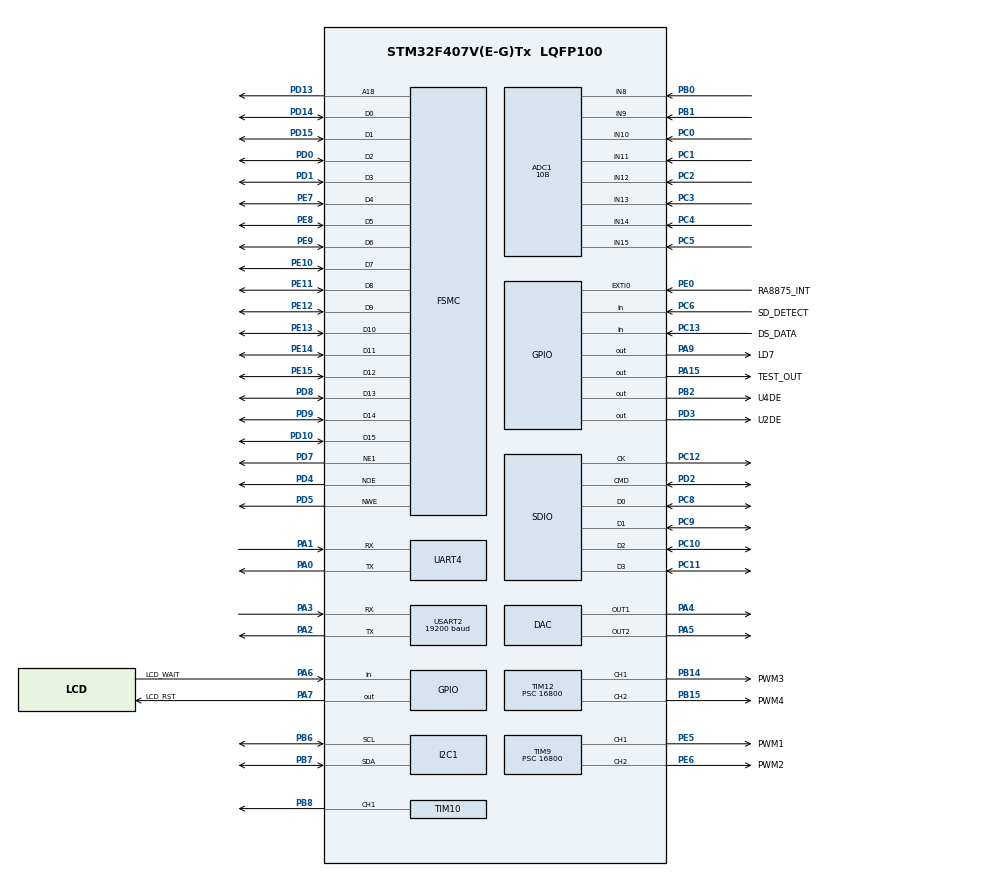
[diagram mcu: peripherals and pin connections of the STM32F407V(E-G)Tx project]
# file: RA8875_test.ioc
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ADC1.Channel-0\#ChannelRegularConversion=ADC_CHANNEL_8
ADC1.Channel-1\#ChannelRegularConversion=ADC_CHANNEL_9
ADC1.Channel-2\#ChannelRegularConversion=ADC_CHANNEL_10
ADC1.Channel-3\#ChannelRegularConversion=ADC_CHANNEL_11
ADC1.Channel-4\#ChannelRegularConversion=ADC_CHANNEL_12
ADC1.Channel-5\#ChannelRegularConversion=ADC_CHANNEL_13
ADC1.Channel-6\#ChannelRegularConversion=ADC_CHANNEL_14
ADC1.Channel-7\#ChannelRegularConversion=ADC_CHANNEL_15
ADC1.Channel-8\#ChannelRegularConversion=ADC_CHANNEL_VREFINT
ADC1.Channel-9\#ChannelRegularConversion=ADC_CHANNEL_TEMPSENSOR
ADC1.ContinuousConvMode=ENABLE
ADC1.DMAContinuousRequests=ENABLE
ADC1.EOCSelection=ADC_EOC_SEQ_CONV
ADC1.InjNumberOfConversion=0
ADC1.NbrOfConversion=10
ADC1.NbrOfConversionFlag=1
ADC1.Rank-0\#ChannelRegularConversion=1
ADC1.Rank-1\#ChannelRegularConversion=2
ADC1.Rank-2\#ChannelRegularConversion=3
ADC1.Rank-3\#ChannelRegularConversion=4
ADC1.Rank-4\#ChannelRegularConversion=5
ADC1.Rank-5\#ChannelRegularConversion=6
ADC1.Rank-6\#ChannelRegularConversion=7
ADC1.Rank-7\#ChannelRegularConversion=8
ADC1.Rank-8\#ChannelRegularConversion=9
ADC1.Rank-9\#ChannelRegularConversion=10
ADC1.Resolution=ADC_RESOLUTION_10B
ADC1.SamplingTime-0\#ChannelRegularConversion=ADC_SAMPLETIME_480CYCLES
ADC1.SamplingTime-1\#ChannelRegularConversion=ADC_SAMPLETIME_480CYCLES
ADC1.SamplingTime-2\#ChannelRegularConversion=ADC_SAMPLETIME_480CYCLES
ADC1.SamplingTime-3\#ChannelRegularConversion=ADC_SAMPLETIME_480CYCLES
ADC1.SamplingTime-4\#ChannelRegularConversion=ADC_SAMPLETIME_480CYCLES
ADC1.SamplingTime-5\#ChannelRegularConversion=ADC_SAMPLETIME_480CYCLES
ADC1.SamplingTime-6\#ChannelRegularConversion=ADC_SAMPLETIME_480CYCLES
ADC1.SamplingTime-7\#ChannelRegularConversion=ADC_SAMPLETIME_480CYCLES
ADC1.SamplingTime-8\#ChannelRegularConversion=ADC_SAMPLETIME_480CYCLES
ADC1.SamplingTime-9\#ChannelRegularConversion=ADC_SAMPLETIME_480CYCLES
ADC1.ScanConvMode=ENABLE
ADC1.master=1
Dma.ADC1.0.Direction=DMA_PERIPH_TO_MEMORY
Dma.ADC1.0.FIFOMode=DMA_FIFOMODE_DISABLE
Dma.ADC1.0.Instance=DMA2_Stream0
Dma.ADC1.0.MemDataAlignment=DMA_MDATAALIGN_HALFWORD
Dma.ADC1.0.MemInc=DMA_MINC_ENABLE
Dma.ADC1.0.Mode=DMA_CIRCULAR
Dma.ADC1.0.PeriphDataAlignment=DMA_PDATAALIGN_HALFWORD
Dma.ADC1.0.PeriphInc=DMA_PINC_DISABLE
Dma.ADC1.0.Priority=DMA_PRIORITY_MEDIUM
Dma.MEMTOMEM.1.Direction=DMA_MEMORY_TO_MEMORY
Dma.MEMTOMEM.1.FIFOMode=DMA_FIFOMODE_ENABLE
Dma.MEMTOMEM.1.FIFOThreshold=DMA_FIFO_THRESHOLD_FULL
Dma.MEMTOMEM.1.Instance=DMA2_Stream1
Dma.MEMTOMEM.1.MemBurst=DMA_MBURST_SINGLE
Dma.MEMTOMEM.1.MemDataAlignment=DMA_MDATAALIGN_HALFWORD
Dma.MEMTOMEM.1.MemInc=DMA_MINC_ENABLE
Dma.MEMTOMEM.1.Mode=DMA_NORMAL
Dma.MEMTOMEM.1.PeriphBurst=DMA_PBURST_SINGLE
Dma.MEMTOMEM.1.PeriphDataAlignment=DMA_PDATAALIGN_HALFWORD
Dma.MEMTOMEM.1.PeriphInc=DMA_PINC_ENABLE
Dma.MEMTOMEM.1.Priority=DMA_PRIORITY_MEDIUM
Dma.Request0=ADC1
Dma.Request1=MEMTOMEM
FREERTOS.Tasks01=GUI_Task,-3,1280,t_GuiTask,Default,NULL,Dynamic,NULL,NULL;Main_Task,0,128,t_MainTask,Default,NULL,Dynamic,NULL,NULL;MbTask,-3,512,t_ModbusTask,Default,NULL,Dynamic,NULL,NULL
FREERTOS.Timers01=TS_Timer,TS_TimerCallback,osTimerPeriodic,Default,NULL,Dynamic,NULL
FREERTOS.configUSE_TIMERS=1
FSMC.AddressSetupTime1=5
FSMC.BusTurnAroundDuration1=0
FSMC.DataSetupTime1=9
FSMC.ExtendedMode1=FSMC_EXTENDED_MODE_DISABLE
Mcu.Family=STM32F4
Mcu.Name=STM32F407V(E-G)Tx
Mcu.Package=LQFP100
NVIC.DMA2_Stream0_IRQn=true\:5\:0\:false\:false\:true\:true\:false\:true
NVIC.EXTI0_IRQn=true\:5\:0\:false\:false\:true\:true\:true\:true
NVIC.PriorityGroup=NVIC_PRIORITYGROUP_4
NVIC.TIM6_DAC_IRQn=true\:0\:0\:false\:false\:true\:false\:false\:true
NVIC.TimeBase=TIM6_DAC_IRQn
NVIC.TimeBaseIP=TIM6
NVIC.UART4_IRQn=true\:5\:0\:false\:false\:true\:true\:true\:true
NVIC.USART2_IRQn=true\:5\:0\:false\:false\:true\:true\:true\:true
PA0-WKUP.Mode=Asynchronous
PA0-WKUP.Signal=UART4_TX
PA1.Mode=Asynchronous
PA1.Signal=UART4_RX
PA13.Mode=Trace_Asynchronous_SW
PA13.Signal=SYS_JTMS-SWDIO
PA14.Mode=Trace_Asynchronous_SW
PA14.Signal=SYS_JTCK-SWCLK
PA15.GPIO_Label=TEST_OUT
PA15.Signal=GPIO_Output
PA2.Mode=Asynchronous
PA2.Signal=USART2_TX
PA3.Mode=Asynchronous
PA3.Signal=USART2_RX
PA4.Signal=COMP_DAC1_group
PA5.Signal=COMP_DAC2_group
PA6.GPIO_Label=LCD_WAIT
PA6.Signal=GPIO_Input
PA7.GPIO_Label=LCD_RST
PA7.PinState=GPIO_PIN_SET
PA7.Signal=GPIO_Output
PA9.GPIO_Label=LD7
PA9.Signal=GPIO_Output
PB0.Signal=ADCx_IN8
PB1.Signal=ADCx_IN9
PB14.GPIO_Label=PWM3
PB14.Signal=S_TIM12_CH1
PB15.GPIO_Label=PWM4
PB15.Signal=S_TIM12_CH2
PB2.GPIO_Label=U4DE
PB2.PinState=GPIO_PIN_RESET
PB2.Signal=GPIO_Output
PB3.Mode=Trace_Asynchronous_SW
PB3.Signal=SYS_JTDO-SWO
PB6.GPIO_Speed=GPIO_SPEED_FREQ_HIGH
PB6.Mode=I2C
PB6.Signal=I2C1_SCL
PB7.GPIO_Speed=GPIO_SPEED_FREQ_HIGH
PB7.Mode=I2C
PB7.Signal=I2C1_SDA
PB8.Signal=S_TIM10_CH1
PB9.GPIO_Label=LCD_BACKLIGHT
PB9.Signal=S_TIM11_CH1
PC0.Signal=ADCx_IN10
PC1.Signal=ADCx_IN11
PC10.Mode=SD_4_bits_Wide_bus
PC10.Signal=SDIO_D2
PC11.Mode=SD_4_bits_Wide_bus
PC11.Signal=SDIO_D3
PC12.Mode=SD_4_bits_Wide_bus
PC12.Signal=SDIO_CK
PC13-ANTI_TAMP.GPIO_Label=DS_DATA
PC13-ANTI_TAMP.GPIO_PuPd=GPIO_PULLUP
PC13-ANTI_TAMP.Signal=GPIO_Input
PC14-OSC32_IN.Mode=LSE-External-Oscillator
PC14-OSC32_IN.Signal=RCC_OSC32_IN
PC15-OSC32_OUT.Mode=LSE-External-Oscillator
PC15-OSC32_OUT.Signal=RCC_OSC32_OUT
PC2.Signal=ADCx_IN12
PC3.Signal=ADCx_IN13
PC4.Signal=ADCx_IN14
PC5.Signal=ADCx_IN15
PC6.GPIO_Label=SD_DETECT
PC6.GPIO_PuPd=GPIO_PULLUP
PC6.Signal=GPIO_Input
PC8.Mode=SD_4_bits_Wide_bus
PC8.Signal=SDIO_D0
PC9.Mode=SD_4_bits_Wide_bus
PC9.Signal=SDIO_D1
PD0.Mode=16b-d1
PD0.Signal=FSMC_D2
PD1.Mode=16b-d1
PD1.Signal=FSMC_D3
PD10.Mode=16b-d1
PD10.Signal=FSMC_D15
PD13.Mode=A18_1
PD13.Signal=FSMC_A18
PD14.Mode=16b-d1
PD14.Signal=FSMC_D0
PD15.Mode=16b-d1
PD15.Signal=FSMC_D1
PD2.Mode=SD_4_bits_Wide_bus
PD2.Signal=SDIO_CMD
PD3.GPIO_Label=U2DE
PD3.Signal=GPIO_Output
PD4.Mode=Lcd1
PD4.Signal=FSMC_NOE
PD5.Mode=Lcd1
PD5.Signal=FSMC_NWE
PD7.Mode=NorPsramChipSelect1_1
PD7.Signal=FSMC_NE1
PD8.Mode=16b-d1
PD8.Signal=FSMC_D13
PD9.Mode=16b-d1
PD9.Signal=FSMC_D14
PE0.GPIO_Label=RA8875_INT
PE0.GPIO_ModeDefaultEXTI=GPIO_MODE_IT_FALLING
PE0.GPIO_PuPd=GPIO_PULLUP
PE0.Signal=GPXTI0
PE10.Mode=16b-d1
PE10.Signal=FSMC_D7
PE11.Mode=16b-d1
PE11.Signal=FSMC_D8
PE12.Mode=16b-d1
PE12.Signal=FSMC_D9
PE13.Mode=16b-d1
PE13.Signal=FSMC_D10
PE14.Mode=16b-d1
PE14.Signal=FSMC_D11
PE15.Mode=16b-d1
PE15.Signal=FSMC_D12
PE5.GPIO_Label=PWM1
PE5.Signal=S_TIM9_CH1
PE6.GPIO_Label=PWM2
PE6.Signal=S_TIM9_CH2
PE7.Mode=16b-d1
PE7.Signal=FSMC_D4
PE8.Mode=16b-d1
PE8.Signal=FSMC_D5
PE9.Mode=16b-d1
PE9.Signal=FSMC_D6
PH0-OSC_IN.Mode=HSE-External-Oscillator
PH0-OSC_IN.Signal=RCC_OSC_IN
PH1-OSC_OUT.Mode=HSE-External-Oscillator
PH1-OSC_OUT.Signal=RCC_OSC_OUT
ProjectManager.HeapSize=0x1000
ProjectManager.StackSize=0x0400
ProjectManager.TargetToolchain=Other Toolchains (GPDSC)
RCC.48MHZClocksFreq_Value=48000000
RCC.AHBFreq_Value=168000000
RCC.APB1CLKDivider=RCC_HCLK_DIV4
RCC.APB1Freq_Value=42000000
RCC.APB1TimFreq_Value=84000000
RCC.APB2CLKDivider=RCC_HCLK_DIV2
RCC.APB2Freq_Value=84000000
RCC.APB2TimFreq_Value=168000000
RCC.CortexFreq_Value=168000000
RCC.FLatency=FLASH_LATENCY_5
RCC.HCLKFreq_Value=168000000
RCC.HSE_VALUE=8000000
RCC.HSI_VALUE=16000000
RCC.PLLM=4
RCC.PLLN=168
RCC.PLLQ=7
RCC.PLLSourceVirtual=RCC_PLLSOURCE_HSE
RCC.SYSCLKFreq_VALUE=168000000
RCC.SYSCLKSource=RCC_SYSCLKSOURCE_PLLCLK
RCC.VCOOutputFreq_Value=336000000
SH.ADCx_IN10.0=ADC1_IN10,IN10
SH.ADCx_IN11.0=ADC1_IN11,IN11
SH.ADCx_IN12.0=ADC1_IN12,IN12
SH.ADCx_IN13.0=ADC1_IN13,IN13
SH.ADCx_IN14.0=ADC1_IN14,IN14
SH.ADCx_IN15.0=ADC1_IN15,IN15
SH.ADCx_IN8.0=ADC1_IN8,IN8
SH.ADCx_IN9.0=ADC1_IN9,IN9
SH.COMP_DAC1_group.0=DAC_OUT1,DAC_OUT1
SH.COMP_DAC2_group.0=DAC_OUT2,DAC_OUT2
SH.S_TIM10_CH1.0=TIM10_CH1,PWM Generation1 CH1
SH.S_TIM11_CH1.0=TIM11_CH1
SH.S_TIM12_CH1.0=TIM12_CH1,PWM Generation1 CH1
SH.S_TIM12_CH2.0=TIM12_CH2,PWM Generation2 CH2
SH.S_TIM9_CH1.0=TIM9_CH1,PWM Generation1 CH1
SH.S_TIM9_CH2.0=TIM9_CH2,PWM Generation2 CH2
TIM10.Channel=TIM_CHANNEL_1
TIM10.Period=100
TIM10.Prescaler=1200
TIM10.Pulse=50
TIM12.Channel-PWM\ Generation1\ CH1=TIM_CHANNEL_1
TIM12.Channel-PWM\ Generation2\ CH2=TIM_CHANNEL_2
TIM12.Period=100
TIM12.Prescaler=16800
TIM7.Period=65535
TIM7.Prescaler=84
TIM7.TIM_MasterOutputTrigger=TIM_TRGO_RESET
TIM9.Channel-PWM\ Generation1\ CH1=TIM_CHANNEL_1
TIM9.Channel-PWM\ Generation2\ CH2=TIM_CHANNEL_2
TIM9.Period=100
TIM9.Prescaler=16800
UART4.VirtualMode=Asynchronous
USART2.BaudRate=19200
USART2.VirtualMode=VM_ASYNC
VP_ADC1_TempSens_Input.Mode=IN-TempSens
VP_ADC1_Vref_Input.Mode=IN-Vrefint
VP_CRC_VS_CRC.Mode=CRC_Activate
VP_FREERTOS_VS_CMSIS_V1.Mode=CMSIS_V1
VP_SYS_VS_tim6.Mode=TIM6
VP_TIM10_VS_ClockSourceINT.Mode=Enable_Timer
VP_TIM12_VS_ClockSourceINT.Mode=Internal
VP_TIM7_VS_ClockSourceINT.Mode=Enable_Timer
VP_TIM9_VS_ClockSourceINT.Mode=Internal
board=nextion_hmi

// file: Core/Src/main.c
/* USER CODE BEGIN Header */
/**
  ******************************************************************************
  * @file           : main.c
  * @brief          : Main program body
  ******************************************************************************
  * @attention
  *
  * <h2><center>&copy; Copyright (c) 2020 STMicroelectronics.
  * All rights reserved.</center></h2>
  *
  * This software component is licensed by ST under BSD 3-Clause license,
  * the "License"; You may not use this file except in compliance with the
  * License. You may obtain a copy of the License at:
  *                        opensource.org/licenses/BSD-3-Clause
  *
  ******************************************************************************
  */
/* USER CODE END Header */

#include "main.h"
#include "cmsis_os.h"

/* USER CODE BEGIN Includes */
#include "globals.h"

#include "WindowDLG.h"

#include "ra8875.h"
#include "usart.h"
#include "ds18b20.h"
#include "adc.h"

#if defined(MODBUS_PORT)
    #include "mb.h"
    #include "user_mb_app.h"
#endif

/* USER CODE END Includes */

SD_HandleTypeDef hsd;

SRAM_HandleTypeDef hsram1;

osThreadId GUI_TaskHandle;
osThreadId Main_TaskHandle;
osThreadId MbTaskHandle;
osTimerId TS_TimerHandle;
/* USER CODE BEGIN PV */

struct _sys Sys;

/*  */
static StaticEventGroup_t xEventGroupControlBlock;   // EventGroup objektas
EventGroupHandle_t xEventGroupHandle = NULL;         // Hendleris

/*  */
static StaticSemaphore_t xFsmcMutexControlBlock;
SemaphoreHandle_t xFsmcMutexHandle = NULL;

__IO uint32_t timestamp;
uint16_t BackLightTimeoutCounter = 0;

char st[20];

uint8_t buf[1024];

extern TaskHandle_t Ds18b20Handle;
extern TaskHandle_t AdcHandle;

extern const uint16_t _ackrym[];
/* USER CODE END PV */

void SystemClock_Config(void);
static void MX_GPIO_Init(void);
static void MX_DMA_Init(void);
static void MX_FSMC_Init(void);
static void MX_CRC_Init(void);
static void MX_UART4_Init(void);
static void MX_TIM7_Init(void);
static void MX_ADC1_Init(void);
static void MX_DAC_Init(void);
static void MX_TIM10_Init(void);
static void MX_I2C1_Init(void);
static void MX_SDIO_SD_Init(void);
static void MX_TIM9_Init(void);
static void MX_TIM12_Init(void);
static void MX_USART2_UART_Init(void);
void t_GuiTask(void const * argument);
void t_MainTask(void const * argument);
void t_ModbusTask(void const * argument);
void TS_TimerCallback(void const * argument);

/* USER CODE BEGIN PFP */
extern void xADC_Task(void* arg);
extern void xDS18B20_Task(void* arg);

/* USER CODE END PFP */

int main(void)
{

  /* MCU Configuration--------------------------------------------------------*/

  /* Reset of all peripherals, Initializes the Flash interface and the Systick. */
  HAL_Init();

  /* Configure the system clock */
  SystemClock_Config();

  /* Initialize all configured peripherals */
  MX_GPIO_Init();
  MX_DMA_Init();
  MX_FSMC_Init();
  MX_CRC_Init();
  MX_UART4_Init();
  MX_TIM7_Init();
  MX_ADC1_Init();
  MX_DAC_Init();
  MX_TIM10_Init();
  MX_I2C1_Init();
  MX_SDIO_SD_Init();
  MX_TIM9_Init();
  MX_TIM12_Init();
  MX_USART2_UART_Init();
  /* USER CODE BEGIN 2 */

  /* STM32F405x/407x/415x/417x Revision Z devices: prefetch is supported  */
  if (HAL_GetREVID() == 0x1001)
  {
    /* Enable the Flash prefetch */
    __HAL_FLASH_PREFETCH_BUFFER_ENABLE();
  }

  LL_GPIO_SetOutputPin(GPIOD, LL_GPIO_PIN_13);  // A18 - pagal default aukstas lygis
  LL_GPIO_ResetOutputPin(GPIOD, LL_GPIO_PIN_4); // RD - pagal default zemas lygis
  LL_GPIO_ResetOutputPin(GPIOA, LL_GPIO_PIN_9);

  /* nustatom 80% LCD sviesumo */
  LL_TIM_OC_SetCompareCH1(TIM11, 0);

  /* nustatom PWM isejimus */
  LL_TIM_OC_SetCompareCH1(TIM9, 10);
  LL_TIM_OC_SetCompareCH2(TIM9, 20);
  LL_TIM_OC_SetCompareCH1(TIM12, 30);
  LL_TIM_OC_SetCompareCH2(TIM12, 40);

  /* USER CODE END 2 */

  /* USER CODE BEGIN RTOS_MUTEX */
  /* add mutexes, ... */
  xFsmcMutexHandle = xSemaphoreCreateMutexStatic( &xFsmcMutexControlBlock );
  /* USER CODE END RTOS_MUTEX */

  /* USER CODE BEGIN RTOS_SEMAPHORES */
  /* add semaphores, ... */
  xEventGroupHandle = xEventGroupCreateStatic(&xEventGroupControlBlock);
  /* USER CODE END RTOS_SEMAPHORES */

  /* Create the timer(s) */
  /* definition and creation of TS_Timer */
  osTimerDef(TS_Timer, TS_TimerCallback);
  TS_TimerHandle = osTimerCreate(osTimer(TS_Timer), osTimerPeriodic, NULL);

  /* Create the thread(s) */
  /* definition and creation of GUI_Task */
  osThreadDef(GUI_Task, t_GuiTask, osPriorityIdle, 0, 512);
  GUI_TaskHandle = osThreadCreate(osThread(GUI_Task), NULL);

  /* definition and creation of Main_Task */
  osThreadDef(Main_Task, t_MainTask, osPriorityNormal, 0, 128);
  Main_TaskHandle = osThreadCreate(osThread(Main_Task), NULL);

  /* definition and creation of MbTask */
  osThreadDef(MbTask, t_ModbusTask, osPriorityIdle, 0, 512);
  MbTaskHandle = osThreadCreate(osThread(MbTask), NULL);

  /* USER CODE BEGIN RTOS_THREADS */
  /* add threads, ... */
#if (DS18B20_CONFIG_USE_FREERTOS==1)
  DS18B20_TaskInit(tskIDLE_PRIORITY);
#endif

  ADC_TaskInit(tskIDLE_PRIORITY);

  GUI_X_InitOS();
  /* USER CODE END RTOS_THREADS */

  /* Start scheduler */
  osKernelStart();

  /* We should never get here as control is now taken by the scheduler */
  /* Infinite loop */
  while (1)
  {

  }
}

void SystemClock_Config(void)
{
  LL_FLASH_SetLatency(LL_FLASH_LATENCY_5);

  if(LL_FLASH_GetLatency() != LL_FLASH_LATENCY_5)
  {
  Error_Handler();
  }
  LL_PWR_SetRegulVoltageScaling(LL_PWR_REGU_VOLTAGE_SCALE1);
  LL_RCC_HSE_Enable();

   /* Wait till HSE is ready */
  while(LL_RCC_HSE_IsReady() != 1)
  {

  }
  LL_RCC_PLL_ConfigDomain_SYS(LL_RCC_PLLSOURCE_HSE, LL_RCC_PLLM_DIV_4, 168, LL_RCC_PLLP_DIV_2);
  LL_RCC_PLL_Enable();

   /* Wait till PLL is ready */
  while(LL_RCC_PLL_IsReady() != 1)
  {

  }
  LL_RCC_SetAHBPrescaler(LL_RCC_SYSCLK_DIV_1);
  LL_RCC_SetAPB1Prescaler(LL_RCC_APB1_DIV_4);
  LL_RCC_SetAPB2Prescaler(LL_RCC_APB2_DIV_2);
  LL_RCC_SetSysClkSource(LL_RCC_SYS_CLKSOURCE_PLL);

   /* Wait till System clock is ready */
  while(LL_RCC_GetSysClkSource() != LL_RCC_SYS_CLKSOURCE_STATUS_PLL)
  {

  }
  LL_SetSystemCoreClock(168000000);

   /* Update the time base */
  if (HAL_InitTick (TICK_INT_PRIORITY) != HAL_OK)
  {
    Error_Handler();
  };
}

static void MX_ADC1_Init(void)
{

  LL_ADC_InitTypeDef ADC_InitStruct = {0};
  LL_ADC_REG_InitTypeDef ADC_REG_InitStruct = {0};
  LL_ADC_CommonInitTypeDef ADC_CommonInitStruct = {0};

  LL_GPIO_InitTypeDef GPIO_InitStruct = {0};

  /* Peripheral clock enable */
  LL_APB2_GRP1_EnableClock(LL_APB2_GRP1_PERIPH_ADC1);

  LL_AHB1_GRP1_EnableClock(LL_AHB1_GRP1_PERIPH_GPIOC);
  LL_AHB1_GRP1_EnableClock(LL_AHB1_GRP1_PERIPH_GPIOB);
  /**ADC1 GPIO Configuration
  PC0   ------> ADC1_IN10
  PC1   ------> ADC1_IN11
  PC2   ------> ADC1_IN12
  PC3   ------> ADC1_IN13
  PC4   ------> ADC1_IN14
  PC5   ------> ADC1_IN15
  PB0   ------> ADC1_IN8
  PB1   ------> ADC1_IN9
  */
  GPIO_InitStruct.Pin = LL_GPIO_PIN_0|LL_GPIO_PIN_1|LL_GPIO_PIN_2|LL_GPIO_PIN_3
                          |LL_GPIO_PIN_4|LL_GPIO_PIN_5;
  GPIO_InitStruct.Mode = LL_GPIO_MODE_ANALOG;
  GPIO_InitStruct.Pull = LL_GPIO_PULL_NO;
  LL_GPIO_Init(GPIOC, &GPIO_InitStruct);

  GPIO_InitStruct.Pin = LL_GPIO_PIN_0|LL_GPIO_PIN_1;
  GPIO_InitStruct.Mode = LL_GPIO_MODE_ANALOG;
  GPIO_InitStruct.Pull = LL_GPIO_PULL_NO;
  LL_GPIO_Init(GPIOB, &GPIO_InitStruct);

  /* ADC1 DMA Init */

  /* ADC1 Init */
  LL_DMA_SetChannelSelection(DMA2, LL_DMA_STREAM_0, LL_DMA_CHANNEL_0);

  LL_DMA_SetDataTransferDirection(DMA2, LL_DMA_STREAM_0, LL_DMA_DIRECTION_PERIPH_TO_MEMORY);

  LL_DMA_SetStreamPriorityLevel(DMA2, LL_DMA_STREAM_0, LL_DMA_PRIORITY_MEDIUM);

  LL_DMA_SetMode(DMA2, LL_DMA_STREAM_0, LL_DMA_MODE_CIRCULAR);

  LL_DMA_SetPeriphIncMode(DMA2, LL_DMA_STREAM_0, LL_DMA_PERIPH_NOINCREMENT);

  LL_DMA_SetMemoryIncMode(DMA2, LL_DMA_STREAM_0, LL_DMA_MEMORY_INCREMENT);

  LL_DMA_SetPeriphSize(DMA2, LL_DMA_STREAM_0, LL_DMA_PDATAALIGN_HALFWORD);

  LL_DMA_SetMemorySize(DMA2, LL_DMA_STREAM_0, LL_DMA_MDATAALIGN_HALFWORD);

  LL_DMA_DisableFifoMode(DMA2, LL_DMA_STREAM_0);

  /** Common config
  */
  ADC_InitStruct.Resolution = LL_ADC_RESOLUTION_10B;
  ADC_InitStruct.DataAlignment = LL_ADC_DATA_ALIGN_RIGHT;
  ADC_InitStruct.SequencersScanMode = LL_ADC_SEQ_SCAN_ENABLE;
  LL_ADC_Init(ADC1, &ADC_InitStruct);
  ADC_REG_InitStruct.TriggerSource = LL_ADC_REG_TRIG_SOFTWARE;
  ADC_REG_InitStruct.SequencerLength = LL_ADC_REG_SEQ_SCAN_ENABLE_10RANKS;
  ADC_REG_InitStruct.SequencerDiscont = LL_ADC_REG_SEQ_DISCONT_DISABLE;
  ADC_REG_InitStruct.ContinuousMode = LL_ADC_REG_CONV_CONTINUOUS;
  ADC_REG_InitStruct.DMATransfer = LL_ADC_REG_DMA_TRANSFER_UNLIMITED;
  LL_ADC_REG_Init(ADC1, &ADC_REG_InitStruct);
  LL_ADC_REG_SetFlagEndOfConversion(ADC1, LL_ADC_REG_FLAG_EOC_SEQUENCE_CONV);
  LL_ADC_DisableIT_EOCS(ADC1);
  ADC_CommonInitStruct.CommonClock = LL_ADC_CLOCK_SYNC_PCLK_DIV4;
  ADC_CommonInitStruct.Multimode = LL_ADC_MULTI_INDEPENDENT;
  LL_ADC_CommonInit(__LL_ADC_COMMON_INSTANCE(ADC1), &ADC_CommonInitStruct);
  /** Configure Regular Channel
  */
  LL_ADC_REG_SetSequencerRanks(ADC1, LL_ADC_REG_RANK_1, LL_ADC_CHANNEL_8);
  LL_ADC_SetChannelSamplingTime(ADC1, LL_ADC_CHANNEL_8, LL_ADC_SAMPLINGTIME_480CYCLES);
  /** Configure Regular Channel
  */
  LL_ADC_REG_SetSequencerRanks(ADC1, LL_ADC_REG_RANK_2, LL_ADC_CHANNEL_9);
  LL_ADC_SetChannelSamplingTime(ADC1, LL_ADC_CHANNEL_9, LL_ADC_SAMPLINGTIME_480CYCLES);
  /** Configure Regular Channel
  */
  LL_ADC_REG_SetSequencerRanks(ADC1, LL_ADC_REG_RANK_3, LL_ADC_CHANNEL_10);
  LL_ADC_SetChannelSamplingTime(ADC1, LL_ADC_CHANNEL_10, LL_ADC_SAMPLINGTIME_480CYCLES);
  /** Configure Regular Channel
  */
  LL_ADC_REG_SetSequencerRanks(ADC1, LL_ADC_REG_RANK_4, LL_ADC_CHANNEL_11);
  LL_ADC_SetChannelSamplingTime(ADC1, LL_ADC_CHANNEL_11, LL_ADC_SAMPLINGTIME_480CYCLES);
  /** Configure Regular Channel
  */
  LL_ADC_REG_SetSequencerRanks(ADC1, LL_ADC_REG_RANK_5, LL_ADC_CHANNEL_12);
  LL_ADC_SetChannelSamplingTime(ADC1, LL_ADC_CHANNEL_12, LL_ADC_SAMPLINGTIME_480CYCLES);
  /** Configure Regular Channel
  */
  LL_ADC_REG_SetSequencerRanks(ADC1, LL_ADC_REG_RANK_6, LL_ADC_CHANNEL_13);
  LL_ADC_SetChannelSamplingTime(ADC1, LL_ADC_CHANNEL_13, LL_ADC_SAMPLINGTIME_480CYCLES);
  /** Configure Regular Channel
  */
  LL_ADC_REG_SetSequencerRanks(ADC1, LL_ADC_REG_RANK_7, LL_ADC_CHANNEL_14);
  LL_ADC_SetChannelSamplingTime(ADC1, LL_ADC_CHANNEL_14, LL_ADC_SAMPLINGTIME_480CYCLES);
  /** Configure Regular Channel
  */
  LL_ADC_REG_SetSequencerRanks(ADC1, LL_ADC_REG_RANK_8, LL_ADC_CHANNEL_15);
  LL_ADC_SetChannelSamplingTime(ADC1, LL_ADC_CHANNEL_15, LL_ADC_SAMPLINGTIME_480CYCLES);
  /** Configure Regular Channel
  */
  LL_ADC_REG_SetSequencerRanks(ADC1, LL_ADC_REG_RANK_9, LL_ADC_CHANNEL_VREFINT);
  LL_ADC_SetChannelSamplingTime(ADC1, LL_ADC_CHANNEL_VREFINT, LL_ADC_SAMPLINGTIME_480CYCLES);
  LL_ADC_SetCommonPathInternalCh(__LL_ADC_COMMON_INSTANCE(ADC1), LL_ADC_PATH_INTERNAL_VREFINT);
  /** Configure Regular Channel
  */
  LL_ADC_REG_SetSequencerRanks(ADC1, LL_ADC_REG_RANK_10, LL_ADC_CHANNEL_TEMPSENSOR);
  LL_ADC_SetChannelSamplingTime(ADC1, LL_ADC_CHANNEL_TEMPSENSOR, LL_ADC_SAMPLINGTIME_480CYCLES);
  LL_ADC_SetCommonPathInternalCh(__LL_ADC_COMMON_INSTANCE(ADC1), LL_ADC_PATH_INTERNAL_TEMPSENSOR);

}

static void MX_CRC_Init(void)
{

  /* Peripheral clock enable */
  LL_AHB1_GRP1_EnableClock(LL_AHB1_GRP1_PERIPH_CRC);

}

static void MX_DAC_Init(void)
{

  LL_DAC_InitTypeDef DAC_InitStruct = {0};

  LL_GPIO_InitTypeDef GPIO_InitStruct = {0};

  /* Peripheral clock enable */
  LL_APB1_GRP1_EnableClock(LL_APB1_GRP1_PERIPH_DAC1);

  LL_AHB1_GRP1_EnableClock(LL_AHB1_GRP1_PERIPH_GPIOA);
  /**DAC GPIO Configuration
  PA4   ------> DAC_OUT1
  PA5   ------> DAC_OUT2
  */
  GPIO_InitStruct.Pin = LL_GPIO_PIN_4|LL_GPIO_PIN_5;
  GPIO_InitStruct.Mode = LL_GPIO_MODE_ANALOG;
  GPIO_InitStruct.Pull = LL_GPIO_PULL_NO;
  LL_GPIO_Init(GPIOA, &GPIO_InitStruct);

  /* DAC interrupt Init */
  NVIC_SetPriority(TIM6_DAC_IRQn, NVIC_EncodePriority(NVIC_GetPriorityGrouping(),0, 0));
  NVIC_EnableIRQ(TIM6_DAC_IRQn);

  /** DAC channel OUT1 config
  */
  DAC_InitStruct.TriggerSource = LL_DAC_TRIG_SOFTWARE;
  DAC_InitStruct.WaveAutoGeneration = LL_DAC_WAVE_AUTO_GENERATION_NONE;
  DAC_InitStruct.OutputBuffer = LL_DAC_OUTPUT_BUFFER_ENABLE;
  LL_DAC_Init(DAC, LL_DAC_CHANNEL_1, &DAC_InitStruct);
  /** DAC channel OUT2 config
  */
  LL_DAC_Init(DAC, LL_DAC_CHANNEL_2, &DAC_InitStruct);

}

static void MX_I2C1_Init(void)
{

  LL_I2C_InitTypeDef I2C_InitStruct = {0};

  LL_GPIO_InitTypeDef GPIO_InitStruct = {0};

  LL_AHB1_GRP1_EnableClock(LL_AHB1_GRP1_PERIPH_GPIOB);
  /**I2C1 GPIO Configuration
  PB6   ------> I2C1_SCL
  PB7   ------> I2C1_SDA
  */
  GPIO_InitStruct.Pin = LL_GPIO_PIN_6|LL_GPIO_PIN_7;
  GPIO_InitStruct.Mode = LL_GPIO_MODE_ALTERNATE;
  GPIO_InitStruct.Speed = LL_GPIO_SPEED_FREQ_HIGH;
  GPIO_InitStruct.OutputType = LL_GPIO_OUTPUT_OPENDRAIN;
  GPIO_InitStruct.Pull = LL_GPIO_PULL_UP;
  GPIO_InitStruct.Alternate = LL_GPIO_AF_4;
  LL_GPIO_Init(GPIOB, &GPIO_InitStruct);

  /* Peripheral clock enable */
  LL_APB1_GRP1_EnableClock(LL_APB1_GRP1_PERIPH_I2C1);

  /** I2C Initialization
  */
  LL_I2C_DisableOwnAddress2(I2C1);
  LL_I2C_DisableGeneralCall(I2C1);
  LL_I2C_EnableClockStretching(I2C1);
  I2C_InitStruct.PeripheralMode = LL_I2C_MODE_I2C;
  I2C_InitStruct.ClockSpeed = 100000;
  I2C_InitStruct.DutyCycle = LL_I2C_DUTYCYCLE_2;
  I2C_InitStruct.OwnAddress1 = 0;
  I2C_InitStruct.TypeAcknowledge = LL_I2C_ACK;
  I2C_InitStruct.OwnAddrSize = LL_I2C_OWNADDRESS1_7BIT;
  LL_I2C_Init(I2C1, &I2C_InitStruct);
  LL_I2C_SetOwnAddress2(I2C1, 0);

}

static void MX_SDIO_SD_Init(void)
{

  hsd.Instance = SDIO;
  hsd.Init.ClockEdge = SDIO_CLOCK_EDGE_RISING;
  hsd.Init.ClockBypass = SDIO_CLOCK_BYPASS_DISABLE;
  hsd.Init.ClockPowerSave = SDIO_CLOCK_POWER_SAVE_DISABLE;
  hsd.Init.BusWide = SDIO_BUS_WIDE_1B;
  hsd.Init.HardwareFlowControl = SDIO_HARDWARE_FLOW_CONTROL_DISABLE;
  hsd.Init.ClockDiv = 0;
  if (HAL_SD_Init(&hsd) != HAL_OK)
  {
    Error_Handler();
  }
  if (HAL_SD_ConfigWideBusOperation(&hsd, SDIO_BUS_WIDE_4B) != HAL_OK)
  {
    Error_Handler();
  }

}

static void MX_TIM7_Init(void)
{

  LL_TIM_InitTypeDef TIM_InitStruct = {0};

  /* Peripheral clock enable */
  LL_APB1_GRP1_EnableClock(LL_APB1_GRP1_PERIPH_TIM7);

  TIM_InitStruct.Prescaler = 84;
  TIM_InitStruct.CounterMode = LL_TIM_COUNTERMODE_UP;
  TIM_InitStruct.Autoreload = 65535;
  LL_TIM_Init(TIM7, &TIM_InitStruct);
  LL_TIM_DisableARRPreload(TIM7);
  LL_TIM_SetTriggerOutput(TIM7, LL_TIM_TRGO_RESET);
  LL_TIM_DisableMasterSlaveMode(TIM7);
  /* USER CODE BEGIN TIM7_Init 2 */

  LL_TIM_EnableCounter(TIM7);
  /* USER CODE END TIM7_Init 2 */

}

static void MX_TIM9_Init(void)
{

  LL_TIM_InitTypeDef TIM_InitStruct = {0};
  LL_TIM_OC_InitTypeDef TIM_OC_InitStruct = {0};

  LL_GPIO_InitTypeDef GPIO_InitStruct = {0};

  /* Peripheral clock enable */
  LL_APB2_GRP1_EnableClock(LL_APB2_GRP1_PERIPH_TIM9);

  TIM_InitStruct.Prescaler = 16800;
  TIM_InitStruct.CounterMode = LL_TIM_COUNTERMODE_UP;
  TIM_InitStruct.Autoreload = 100;
  TIM_InitStruct.ClockDivision = LL_TIM_CLOCKDIVISION_DIV1;
  LL_TIM_Init(TIM9, &TIM_InitStruct);
  LL_TIM_DisableARRPreload(TIM9);
  LL_TIM_SetClockSource(TIM9, LL_TIM_CLOCKSOURCE_INTERNAL);
  LL_TIM_OC_EnablePreload(TIM9, LL_TIM_CHANNEL_CH1);
  TIM_OC_InitStruct.OCMode = LL_TIM_OCMODE_PWM1;
  TIM_OC_InitStruct.OCState = LL_TIM_OCSTATE_DISABLE;
  TIM_OC_InitStruct.OCNState = LL_TIM_OCSTATE_DISABLE;
  TIM_OC_InitStruct.CompareValue = 0;
  TIM_OC_InitStruct.OCPolarity = LL_TIM_OCPOLARITY_HIGH;
  LL_TIM_OC_Init(TIM9, LL_TIM_CHANNEL_CH1, &TIM_OC_InitStruct);
  LL_TIM_OC_DisableFast(TIM9, LL_TIM_CHANNEL_CH1);
  LL_TIM_OC_EnablePreload(TIM9, LL_TIM_CHANNEL_CH2);
  TIM_OC_InitStruct.OCState = LL_TIM_OCSTATE_DISABLE;
  TIM_OC_InitStruct.OCNState = LL_TIM_OCSTATE_DISABLE;
  LL_TIM_OC_Init(TIM9, LL_TIM_CHANNEL_CH2, &TIM_OC_InitStruct);
  LL_TIM_OC_DisableFast(TIM9, LL_TIM_CHANNEL_CH2);
  /* USER CODE BEGIN TIM9_Init 2 */
  LL_TIM_OC_SetCompareCH1(TIM9, 0);
  LL_TIM_OC_SetCompareCH2(TIM9, 0);

  LL_TIM_EnableAllOutputs(TIM9);
  LL_TIM_CC_EnableChannel(TIM9, LL_TIM_CHANNEL_CH1);
  LL_TIM_CC_EnableChannel(TIM9, LL_TIM_CHANNEL_CH2);

  LL_TIM_EnableCounter(TIM9);
  /* USER CODE END TIM9_Init 2 */
  LL_AHB1_GRP1_EnableClock(LL_AHB1_GRP1_PERIPH_GPIOE);
  /**TIM9 GPIO Configuration
  PE5   ------> TIM9_CH1
  PE6   ------> TIM9_CH2
  */
  GPIO_InitStruct.Pin = PWM1_Pin|PWM2_Pin;
  GPIO_InitStruct.Mode = LL_GPIO_MODE_ALTERNATE;
  GPIO_InitStruct.Speed = LL_GPIO_SPEED_FREQ_LOW;
  GPIO_InitStruct.OutputType = LL_GPIO_OUTPUT_PUSHPULL;
  GPIO_InitStruct.Pull = LL_GPIO_PULL_NO;
  GPIO_InitStruct.Alternate = LL_GPIO_AF_3;
  LL_GPIO_Init(GPIOE, &GPIO_InitStruct);

}

static void MX_TIM10_Init(void)
{

  LL_TIM_InitTypeDef TIM_InitStruct = {0};
  LL_TIM_OC_InitTypeDef TIM_OC_InitStruct = {0};

  LL_GPIO_InitTypeDef GPIO_InitStruct = {0};

  /* Peripheral clock enable */
  LL_APB2_GRP1_EnableClock(LL_APB2_GRP1_PERIPH_TIM10);

  TIM_InitStruct.Prescaler = 1200;
  TIM_InitStruct.CounterMode = LL_TIM_COUNTERMODE_UP;
  TIM_InitStruct.Autoreload = 100;
  TIM_InitStruct.ClockDivision = LL_TIM_CLOCKDIVISION_DIV1;
  LL_TIM_Init(TIM10, &TIM_InitStruct);
  LL_TIM_DisableARRPreload(TIM10);
  LL_TIM_OC_EnablePreload(TIM10, LL_TIM_CHANNEL_CH1);
  TIM_OC_InitStruct.OCMode = LL_TIM_OCMODE_PWM1;
  TIM_OC_InitStruct.OCState = LL_TIM_OCSTATE_DISABLE;
  TIM_OC_InitStruct.OCNState = LL_TIM_OCSTATE_DISABLE;
  TIM_OC_InitStruct.CompareValue = 0;
  TIM_OC_InitStruct.OCPolarity = LL_TIM_OCPOLARITY_HIGH;
  LL_TIM_OC_Init(TIM10, LL_TIM_CHANNEL_CH1, &TIM_OC_InitStruct);
  LL_TIM_OC_DisableFast(TIM10, LL_TIM_CHANNEL_CH1);
  /* USER CODE BEGIN TIM10_Init 2 */
  LL_TIM_OC_SetCompareCH1(TIM10, 50);

  LL_TIM_EnableAllOutputs(TIM10);

  LL_TIM_CC_DisableChannel(TIM10, LL_TIM_CHANNEL_CH1);

  LL_TIM_EnableCounter(TIM10);
  /* USER CODE END TIM10_Init 2 */
  LL_AHB1_GRP1_EnableClock(LL_AHB1_GRP1_PERIPH_GPIOB);
  /**TIM10 GPIO Configuration
  PB8   ------> TIM10_CH1
  */
  GPIO_InitStruct.Pin = LL_GPIO_PIN_8;
  GPIO_InitStruct.Mode = LL_GPIO_MODE_ALTERNATE;
  GPIO_InitStruct.Speed = LL_GPIO_SPEED_FREQ_LOW;
  GPIO_InitStruct.OutputType = LL_GPIO_OUTPUT_PUSHPULL;
  GPIO_InitStruct.Pull = LL_GPIO_PULL_NO;
  GPIO_InitStruct.Alternate = LL_GPIO_AF_3;
  LL_GPIO_Init(GPIOB, &GPIO_InitStruct);

}

static void MX_TIM12_Init(void)
{

  LL_TIM_InitTypeDef TIM_InitStruct = {0};
  LL_TIM_OC_InitTypeDef TIM_OC_InitStruct = {0};

  LL_GPIO_InitTypeDef GPIO_InitStruct = {0};

  /* Peripheral clock enable */
  LL_APB1_GRP1_EnableClock(LL_APB1_GRP1_PERIPH_TIM12);

  TIM_InitStruct.Prescaler = 16800;
  TIM_InitStruct.CounterMode = LL_TIM_COUNTERMODE_UP;
  TIM_InitStruct.Autoreload = 100;
  TIM_InitStruct.ClockDivision = LL_TIM_CLOCKDIVISION_DIV1;
  LL_TIM_Init(TIM12, &TIM_InitStruct);
  LL_TIM_DisableARRPreload(TIM12);
  LL_TIM_SetClockSource(TIM12, LL_TIM_CLOCKSOURCE_INTERNAL);
  LL_TIM_OC_EnablePreload(TIM12, LL_TIM_CHANNEL_CH1);
  TIM_OC_InitStruct.OCMode = LL_TIM_OCMODE_PWM1;
  TIM_OC_InitStruct.OCState = LL_TIM_OCSTATE_DISABLE;
  TIM_OC_InitStruct.OCNState = LL_TIM_OCSTATE_DISABLE;
  TIM_OC_InitStruct.CompareValue = 0;
  TIM_OC_InitStruct.OCPolarity = LL_TIM_OCPOLARITY_HIGH;
  LL_TIM_OC_Init(TIM12, LL_TIM_CHANNEL_CH1, &TIM_OC_InitStruct);
  LL_TIM_OC_DisableFast(TIM12, LL_TIM_CHANNEL_CH1);
  LL_TIM_OC_EnablePreload(TIM12, LL_TIM_CHANNEL_CH2);
  TIM_OC_InitStruct.OCState = LL_TIM_OCSTATE_DISABLE;
  TIM_OC_InitStruct.OCNState = LL_TIM_OCSTATE_DISABLE;
  LL_TIM_OC_Init(TIM12, LL_TIM_CHANNEL_CH2, &TIM_OC_InitStruct);
  LL_TIM_OC_DisableFast(TIM12, LL_TIM_CHANNEL_CH2);
  /* USER CODE BEGIN TIM12_Init 2 */
  LL_TIM_OC_SetCompareCH1(TIM12, 0);
  LL_TIM_OC_SetCompareCH2(TIM12, 0);

  LL_TIM_EnableAllOutputs(TIM12);
  LL_TIM_CC_EnableChannel(TIM12, LL_TIM_CHANNEL_CH1);
  LL_TIM_CC_EnableChannel(TIM12, LL_TIM_CHANNEL_CH2);

  LL_TIM_EnableCounter(TIM12);
  /* USER CODE END TIM12_Init 2 */
  LL_AHB1_GRP1_EnableClock(LL_AHB1_GRP1_PERIPH_GPIOB);
  /**TIM12 GPIO Configuration
  PB14   ------> TIM12_CH1
  PB15   ------> TIM12_CH2
  */
  GPIO_InitStruct.Pin = PWM3_Pin|PWM4_Pin;
  GPIO_InitStruct.Mode = LL_GPIO_MODE_ALTERNATE;
  GPIO_InitStruct.Speed = LL_GPIO_SPEED_FREQ_LOW;
  GPIO_InitStruct.OutputType = LL_GPIO_OUTPUT_PUSHPULL;
  GPIO_InitStruct.Pull = LL_GPIO_PULL_NO;
  GPIO_InitStruct.Alternate = LL_GPIO_AF_9;
  LL_GPIO_Init(GPIOB, &GPIO_InitStruct);

}

static void MX_UART4_Init(void)
{

  LL_USART_InitTypeDef USART_InitStruct = {0};

  LL_GPIO_InitTypeDef GPIO_InitStruct = {0};

  /* Peripheral clock enable */
  LL_APB1_GRP1_EnableClock(LL_APB1_GRP1_PERIPH_UART4);

  LL_AHB1_GRP1_EnableClock(LL_AHB1_GRP1_PERIPH_GPIOA);
  /**UART4 GPIO Configuration
  PA0-WKUP   ------> UART4_TX
  PA1   ------> UART4_RX
  */
  GPIO_InitStruct.Pin = LL_GPIO_PIN_0|LL_GPIO_PIN_1;
  GPIO_InitStruct.Mode = LL_GPIO_MODE_ALTERNATE;
  GPIO_InitStruct.Speed = LL_GPIO_SPEED_FREQ_VERY_HIGH;
  GPIO_InitStruct.OutputType = LL_GPIO_OUTPUT_PUSHPULL;
  GPIO_InitStruct.Pull = LL_GPIO_PULL_UP;
  GPIO_InitStruct.Alternate = LL_GPIO_AF_8;
  LL_GPIO_Init(GPIOA, &GPIO_InitStruct);

  /* UART4 interrupt Init */
  NVIC_SetPriority(UART4_IRQn, NVIC_EncodePriority(NVIC_GetPriorityGrouping(),5, 0));
  NVIC_EnableIRQ(UART4_IRQn);

  USART_InitStruct.BaudRate = 115200;
  USART_InitStruct.DataWidth = LL_USART_DATAWIDTH_8B;
  USART_InitStruct.StopBits = LL_USART_STOPBITS_1;
  USART_InitStruct.Parity = LL_USART_PARITY_NONE;
  USART_InitStruct.TransferDirection = LL_USART_DIRECTION_TX_RX;
  USART_InitStruct.HardwareFlowControl = LL_USART_HWCONTROL_NONE;
  USART_InitStruct.OverSampling = LL_USART_OVERSAMPLING_16;
  LL_USART_Init(UART4, &USART_InitStruct);
  LL_USART_ConfigAsyncMode(UART4);
  LL_USART_Enable(UART4);

}

static void MX_USART2_UART_Init(void)
{

  LL_USART_InitTypeDef USART_InitStruct = {0};

  LL_GPIO_InitTypeDef GPIO_InitStruct = {0};

  /* Peripheral clock enable */
  LL_APB1_GRP1_EnableClock(LL_APB1_GRP1_PERIPH_USART2);

  LL_AHB1_GRP1_EnableClock(LL_AHB1_GRP1_PERIPH_GPIOA);
  /**USART2 GPIO Configuration
  PA2   ------> USART2_TX
  PA3   ------> USART2_RX
  */
  GPIO_InitStruct.Pin = LL_GPIO_PIN_2|LL_GPIO_PIN_3;
  GPIO_InitStruct.Mode = LL_GPIO_MODE_ALTERNATE;
  GPIO_InitStruct.Speed = LL_GPIO_SPEED_FREQ_VERY_HIGH;
  GPIO_InitStruct.OutputType = LL_GPIO_OUTPUT_PUSHPULL;
  GPIO_InitStruct.Pull = LL_GPIO_PULL_NO;
  GPIO_InitStruct.Alternate = LL_GPIO_AF_7;
  LL_GPIO_Init(GPIOA, &GPIO_InitStruct);

  /* USART2 interrupt Init */
  NVIC_SetPriority(USART2_IRQn, NVIC_EncodePriority(NVIC_GetPriorityGrouping(),5, 0));
  NVIC_EnableIRQ(USART2_IRQn);

  USART_InitStruct.BaudRate = 19200;
  USART_InitStruct.DataWidth = LL_USART_DATAWIDTH_8B;
  USART_InitStruct.StopBits = LL_USART_STOPBITS_1;
  USART_InitStruct.Parity = LL_USART_PARITY_NONE;
  USART_InitStruct.TransferDirection = LL_USART_DIRECTION_TX_RX;
  USART_InitStruct.HardwareFlowControl = LL_USART_HWCONTROL_NONE;
  USART_InitStruct.OverSampling = LL_USART_OVERSAMPLING_16;
  LL_USART_Init(USART2, &USART_InitStruct);
  LL_USART_ConfigAsyncMode(USART2);
  LL_USART_Enable(USART2);

}

static void MX_DMA_Init(void)
{

  /* Init with LL driver */
  /* DMA controller clock enable */
  LL_AHB1_GRP1_EnableClock(LL_AHB1_GRP1_PERIPH_DMA2);

  /* Configure DMA request MEMTOMEM_DMA2_Stream1 */

  /* Select channel */
  LL_DMA_SetChannelSelection(DMA2, LL_DMA_STREAM_1, LL_DMA_CHANNEL_0);

  /* Set transfer direction */
  LL_DMA_SetDataTransferDirection(DMA2, LL_DMA_STREAM_1, LL_DMA_DIRECTION_MEMORY_TO_MEMORY);

  /* Set priority level */
  LL_DMA_SetStreamPriorityLevel(DMA2, LL_DMA_STREAM_1, LL_DMA_PRIORITY_MEDIUM);

  /* Set DMA mode */
  LL_DMA_SetMode(DMA2, LL_DMA_STREAM_1, LL_DMA_MODE_NORMAL);

  /* Set peripheral increment mode */
  LL_DMA_SetPeriphIncMode(DMA2, LL_DMA_STREAM_1, LL_DMA_PERIPH_INCREMENT);

  /* Set memory increment mode */
  LL_DMA_SetMemoryIncMode(DMA2, LL_DMA_STREAM_1, LL_DMA_MEMORY_INCREMENT);

  /* Set peripheral data width */
  LL_DMA_SetPeriphSize(DMA2, LL_DMA_STREAM_1, LL_DMA_PDATAALIGN_HALFWORD);

  /* Set memory data width */
  LL_DMA_SetMemorySize(DMA2, LL_DMA_STREAM_1, LL_DMA_MDATAALIGN_HALFWORD);

  /* Enable FIFO mode */
  LL_DMA_EnableFifoMode(DMA2, LL_DMA_STREAM_1);

  /* Set FIFO threshold */
  LL_DMA_SetFIFOThreshold(DMA2, LL_DMA_STREAM_1, LL_DMA_FIFOTHRESHOLD_FULL);

  /* Set memory burst size */
  LL_DMA_SetMemoryBurstxfer(DMA2, LL_DMA_STREAM_1, LL_DMA_MBURST_SINGLE);

  /* Set peripheral burst size */
  LL_DMA_SetPeriphBurstxfer(DMA2, LL_DMA_STREAM_1, LL_DMA_PBURST_SINGLE);

  /* DMA interrupt init */
  /* DMA2_Stream0_IRQn interrupt configuration */
  NVIC_SetPriority(DMA2_Stream0_IRQn, NVIC_EncodePriority(NVIC_GetPriorityGrouping(),5, 0));
  NVIC_EnableIRQ(DMA2_Stream0_IRQn);

}

static void MX_GPIO_Init(void)
{
  LL_EXTI_InitTypeDef EXTI_InitStruct = {0};
  LL_GPIO_InitTypeDef GPIO_InitStruct = {0};

  /* GPIO Ports Clock Enable */
  LL_AHB1_GRP1_EnableClock(LL_AHB1_GRP1_PERIPH_GPIOE);
  LL_AHB1_GRP1_EnableClock(LL_AHB1_GRP1_PERIPH_GPIOC);
  LL_AHB1_GRP1_EnableClock(LL_AHB1_GRP1_PERIPH_GPIOH);
  LL_AHB1_GRP1_EnableClock(LL_AHB1_GRP1_PERIPH_GPIOA);
  LL_AHB1_GRP1_EnableClock(LL_AHB1_GRP1_PERIPH_GPIOB);
  LL_AHB1_GRP1_EnableClock(LL_AHB1_GRP1_PERIPH_GPIOD);

  /**/
  LL_GPIO_SetOutputPin(LCD_RST_GPIO_Port, LCD_RST_Pin);

  /**/
  LL_GPIO_ResetOutputPin(U4DE_GPIO_Port, U4DE_Pin);

  /**/
  LL_GPIO_ResetOutputPin(GPIOA, LD7_Pin|TEST_OUT_Pin);

  /**/
  LL_GPIO_ResetOutputPin(U2DE_GPIO_Port, U2DE_Pin);

  /**/
  GPIO_InitStruct.Pin = DS_DATA_Pin|SD_DETECT_Pin;
  GPIO_InitStruct.Mode = LL_GPIO_MODE_INPUT;
  GPIO_InitStruct.Pull = LL_GPIO_PULL_UP;
  LL_GPIO_Init(GPIOC, &GPIO_InitStruct);

  /**/
  GPIO_InitStruct.Pin = LCD_WAIT_Pin;
  GPIO_InitStruct.Mode = LL_GPIO_MODE_INPUT;
  GPIO_InitStruct.Pull = LL_GPIO_PULL_NO;
  LL_GPIO_Init(LCD_WAIT_GPIO_Port, &GPIO_InitStruct);

  /**/
  GPIO_InitStruct.Pin = LCD_RST_Pin|LD7_Pin|TEST_OUT_Pin;
  GPIO_InitStruct.Mode = LL_GPIO_MODE_OUTPUT;
  GPIO_InitStruct.Speed = LL_GPIO_SPEED_FREQ_LOW;
  GPIO_InitStruct.OutputType = LL_GPIO_OUTPUT_PUSHPULL;
  GPIO_InitStruct.Pull = LL_GPIO_PULL_NO;
  LL_GPIO_Init(GPIOA, &GPIO_InitStruct);

  /**/
  GPIO_InitStruct.Pin = U4DE_Pin;
  GPIO_InitStruct.Mode = LL_GPIO_MODE_OUTPUT;
  GPIO_InitStruct.Speed = LL_GPIO_SPEED_FREQ_LOW;
  GPIO_InitStruct.OutputType = LL_GPIO_OUTPUT_PUSHPULL;
  GPIO_InitStruct.Pull = LL_GPIO_PULL_NO;
  LL_GPIO_Init(U4DE_GPIO_Port, &GPIO_InitStruct);

  /**/
  GPIO_InitStruct.Pin = U2DE_Pin;
  GPIO_InitStruct.Mode = LL_GPIO_MODE_OUTPUT;
  GPIO_InitStruct.Speed = LL_GPIO_SPEED_FREQ_LOW;
  GPIO_InitStruct.OutputType = LL_GPIO_OUTPUT_PUSHPULL;
  GPIO_InitStruct.Pull = LL_GPIO_PULL_NO;
  LL_GPIO_Init(U2DE_GPIO_Port, &GPIO_InitStruct);

  /**/
  GPIO_InitStruct.Pin = LCD_BACKLIGHT_Pin;
  GPIO_InitStruct.Mode = LL_GPIO_MODE_ALTERNATE;
  GPIO_InitStruct.Speed = LL_GPIO_SPEED_FREQ_LOW;
  GPIO_InitStruct.OutputType = LL_GPIO_OUTPUT_PUSHPULL;
  GPIO_InitStruct.Pull = LL_GPIO_PULL_NO;
  GPIO_InitStruct.Alternate = LL_GPIO_AF_3;
  LL_GPIO_Init(LCD_BACKLIGHT_GPIO_Port, &GPIO_InitStruct);

  /**/
  LL_SYSCFG_SetEXTISource(LL_SYSCFG_EXTI_PORTE, LL_SYSCFG_EXTI_LINE0);

  /**/
  EXTI_InitStruct.Line_0_31 = LL_EXTI_LINE_0;
  EXTI_InitStruct.LineCommand = ENABLE;
  EXTI_InitStruct.Mode = LL_EXTI_MODE_IT;
  EXTI_InitStruct.Trigger = LL_EXTI_TRIGGER_FALLING;
  LL_EXTI_Init(&EXTI_InitStruct);

  /**/
  LL_GPIO_SetPinPull(RA8875_INT_GPIO_Port, RA8875_INT_Pin, LL_GPIO_PULL_UP);

  /**/
  LL_GPIO_SetPinMode(RA8875_INT_GPIO_Port, RA8875_INT_Pin, LL_GPIO_MODE_INPUT);

  /* EXTI interrupt init*/
  NVIC_SetPriority(EXTI0_IRQn, NVIC_EncodePriority(NVIC_GetPriorityGrouping(),5, 0));
  NVIC_EnableIRQ(EXTI0_IRQn);

}

/* FSMC initialization function */
static void MX_FSMC_Init(void)
{

  FSMC_NORSRAM_TimingTypeDef Timing = {0};

  /** Perform the SRAM1 memory initialization sequence
  */
  hsram1.Instance = FSMC_NORSRAM_DEVICE;
  hsram1.Extended = FSMC_NORSRAM_EXTENDED_DEVICE;
  /* hsram1.Init */
  hsram1.Init.NSBank = FSMC_NORSRAM_BANK1;
  hsram1.Init.DataAddressMux = FSMC_DATA_ADDRESS_MUX_DISABLE;
  hsram1.Init.MemoryType = FSMC_MEMORY_TYPE_SRAM;
  hsram1.Init.MemoryDataWidth = FSMC_NORSRAM_MEM_BUS_WIDTH_16;
  hsram1.Init.BurstAccessMode = FSMC_BURST_ACCESS_MODE_DISABLE;
  hsram1.Init.WaitSignalPolarity = FSMC_WAIT_SIGNAL_POLARITY_LOW;
  hsram1.Init.WrapMode = FSMC_WRAP_MODE_DISABLE;
  hsram1.Init.WaitSignalActive = FSMC_WAIT_TIMING_BEFORE_WS;
  hsram1.Init.WriteOperation = FSMC_WRITE_OPERATION_ENABLE;
  hsram1.Init.WaitSignal = FSMC_WAIT_SIGNAL_DISABLE;
  hsram1.Init.ExtendedMode = FSMC_EXTENDED_MODE_DISABLE;
  hsram1.Init.AsynchronousWait = FSMC_ASYNCHRONOUS_WAIT_DISABLE;
  hsram1.Init.WriteBurst = FSMC_WRITE_BURST_DISABLE;
  hsram1.Init.PageSize = FSMC_PAGE_SIZE_NONE;
  /* Timing */
  Timing.AddressSetupTime = 5;
  Timing.AddressHoldTime = 15;
  Timing.DataSetupTime = 9;
  Timing.BusTurnAroundDuration = 0;
  Timing.CLKDivision = 2;
  Timing.DataLatency = 2;
  Timing.AccessMode = FSMC_ACCESS_MODE_A;
  /* ExtTiming */

  if (HAL_SRAM_Init(&hsram1, &Timing, NULL) != HAL_OK)
  {
    Error_Handler( );
  }

  /* USER CODE BEGIN FSMC_Init 2 */

// Nustatymai:
//  Timing.AddressSetupTime = 5;
//  Timing.AddressHoldTime = 15;
//  Timing.DataSetupTime = 9;
//  Timing.BusTurnAroundDuration = 0;
//  Timing.CLKDivision = 2;
//  Timing.DataLatency = 2;
//  Timing.AccessMode = FSMC_ACCESS_MODE_A;

  /* USER CODE END FSMC_Init 2 */
}

/* USER CODE BEGIN 4 */
static void SysInit(void){

    Sys.SoundVolume = SOUND_VOLUME_LOW;

    //RA8875_Init();

    LL_TIM_OC_SetCompareCH1(TIM10, Sys.SoundVolume);
}

/* USER CODE END 4 */

void t_GuiTask(void const * argument)
{
  /* USER CODE BEGIN 5 */

    GUI_Init();

    /* Start the TS Timer */
    osTimerStart(TS_TimerHandle, 50);

    hWin = CreateWindow();

    xTaskNotifyGive( Main_TaskHandle );

    /* Infinite loop */
    for(;;)
    {

         GUI_Exec();
         GUI_X_ExecIdle();
    }
  /* USER CODE END 5 */
}

void t_MainTask(void const * argument)
{
  /* USER CODE BEGIN t_MainTask */
    SysInit();

    ulTaskNotifyTake( pdTRUE, portMAX_DELAY );

    xTaskNotifyGive( MbTaskHandle );

    /* Infinite loop */
    for(;;)
    {
        LL_GPIO_SetOutputPin(TEST_OUT_GPIO_Port, TEST_OUT_Pin);
        Delay_us(20);
        LL_GPIO_ResetOutputPin(TEST_OUT_GPIO_Port, TEST_OUT_Pin);

        osDelay(20);
    }
  /* USER CODE END t_MainTask */
}

void t_ModbusTask(void const * argument)
{
  /* USER CODE BEGIN t_ModbusTask */
    ulTaskNotifyTake( pdTRUE, portMAX_DELAY );

    USART_SetDefaults(pPrimaryPort);
    USART_SetDefaults(pSecondaryPort);

    USART_Init(pPrimaryPort);
    USART_Init(pSecondaryPort);

#if defined(MODBUS_PORT)
    eMBInit( MB_RTU, pMbPort->Config.MbAddr, MODBUS_PORT, baudrates[pMbPort->Config.Baudrate], pMbPort->Config.Parity );
    eMBSetSlaveID( 123, TRUE, ucSlaveIdBuf, (MB_FUNC_OTHER_REP_SLAVEID_BUF - 4) );
    eMBEnable();

//    ModbusRegistersInit();
#endif

  /* Infinite loop */
  for(;;)
  {

#if defined(MODBUS_PORT)
        (void)eMBPoll();

        //ModbusRegistersUpdate();
#endif

    osDelay(10);
  }
  /* USER CODE END t_ModbusTask */
}

/* TS_TimerCallback function */
void TS_TimerCallback(void const * argument)
{
    static uint8_t lastPressed;

    /* USER CODE BEGIN TS_TimerCallback */

      GUI_X_Lock();

      TP_Data.State.Pressed = TP_CheckStatus();

      if(TP_Data.State.Pressed){

          if(lastPressed != TP_Data.State.Pressed){
              LL_TIM_CC_EnableChannel(TIM10, LL_TIM_CHANNEL_CH1);
              osDelay(60);
              LL_TIM_CC_DisableChannel(TIM10, LL_TIM_CHANNEL_CH1);
          }

          TP_ReadXY_Manual();
          BackLightTimeoutCounter = 40000;

      }else{
          TP_Data.State.x = -1;
          TP_Data.State.y = -1;
      }

      lastPressed = TP_Data.State.Pressed;

      GUI_TOUCH_StoreStateEx(&TP_Data.State);

      if(BackLightTimeoutCounter) Display.Backlight = Display.BackLightMax;
      else{
          if(Display.Backlight > Display.BackLightMin) Display.Backlight--;
      }

      LCD_SetBacklight(Display.Backlight);

      GUI_X_Unlock();

  /* USER CODE END TS_TimerCallback */
}

 /**
  * @brief  Period elapsed callback in non blocking mode
  * @note   This function is called  when TIM6 interrupt took place, inside
  * HAL_TIM_IRQHandler(). It makes a direct call to HAL_IncTick() to increment
  * a global variable "uwTick" used as application time base.
  * @param  htim : TIM handle
  * @retval None
  */
void HAL_TIM_PeriodElapsedCallback(TIM_HandleTypeDef *htim)
{
  if (htim->Instance == TIM6) {
    HAL_IncTick();
  }
}

void Error_Handler(void)
{
}

/************************ (C) COPYRIGHT STMicroelectronics *****END OF FILE****/
